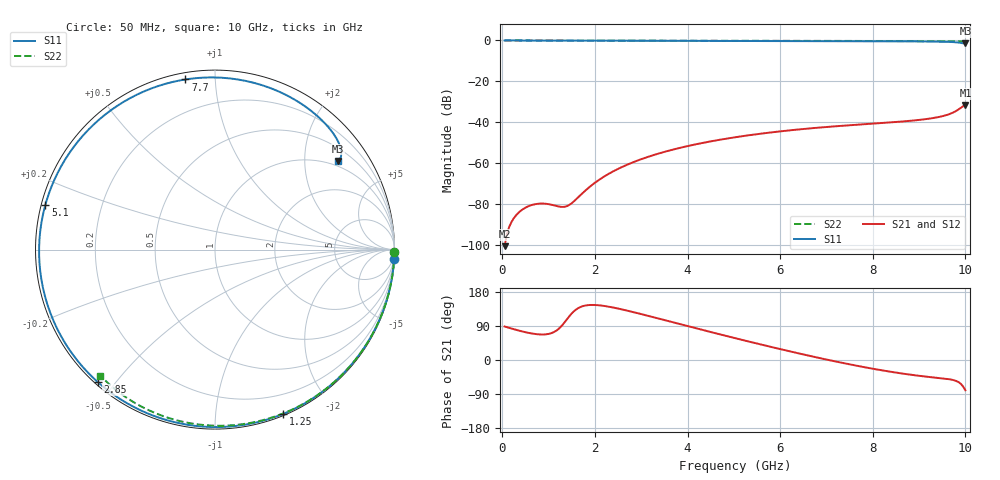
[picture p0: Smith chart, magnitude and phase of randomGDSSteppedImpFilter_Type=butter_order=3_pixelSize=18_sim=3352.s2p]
! freq	dB(S11)	phase(S11)	dB(S12)	phase(S12)
!  dB(S21)	phase(S21)	dB(S22)	phase(S22)
!S-par simulation data
#  GHz  S  DB  R 50
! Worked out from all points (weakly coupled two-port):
!   200 points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, 50 MHz to 10 GHz, reference 50 ohm
!   highest |S21| = -31.55 dB at 10 GHz (marker M1); lowest = -100.3 dB at 50 MHz (marker M2)
!   lowest |S11| = -1.5 dB at 10 GHz (marker M3), VSWR 11.76, Z = 41.9 + j143 ohm
!   |S11| at or under -10 dB: nowhere
!   |S22| runs from -0.5 to 0.0 dB; largest |S21 - S12| = 0
!   S11 on the Smith chart (normalised r, x): 50 MHz: 1, -40; 1.25 GHz: 0.01, -1.50; 2.85 GHz: 0.01, -0.45; 5.1 GHz: 0.01, +0.13; 7.7 GHz: 0.03, +0.84; 10 GHz: 0.84, +2.87
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0.05  -0.01 -2.9  -100.34 88.5  -100.34 88.5  -0.00 -0.8
0.3  -0.02 -17.2  -85.20 79.5  -85.20 79.5  -0.01 -4.6
0.55  -0.04 -31.1  -81.00 72.0  -81.00 72.0  -0.01 -8.4
0.9  -0.06 -49.8  -79.59 67.3  -79.59 67.3  -0.02 -13.7
1.25  -0.08 -67.4  -81.11 85.9  -81.11 85.9  -0.02 -18.9
1.45  -0.09 -76.8  -80.18 115.8  -80.18 115.8  -0.03 -21.9
1.75  -0.10 -90.2  -74.12 142.5  -74.12 142.5  -0.03 -26.4
2  -0.11 -100.6  -69.42 145.2  -69.42 145.2  -0.04 -30.1
2.25  -0.11 -110.4  -65.68 141.7  -65.68 141.7  -0.04 -33.8
2.85  -0.13 -131.6  -59.19 125.8  -59.19 125.8  -0.06 -42.4
3.4  -0.14 -148.9  -55.00 108.6  -55.00 108.6  -0.07 -50.3
4.2  -0.16 -171.5  -50.56 83.2  -50.56 83.2  -0.09 -61.3
5.05  -0.20 166.4  -47.14 56.9  -47.14 56.9  -0.11 -72.7
5.1  -0.20 165.2  -46.97 55.4  -46.97 55.4  -0.11 -73.4
5.85  -0.23 146.5  -44.73 33.1  -44.73 33.1  -0.14 -83.1
6.7  -0.28 125.5  -42.78 9.2  -42.78 9.2  -0.18 -93.7
7.7  -0.33 99.9  -41.04 -16.2  -41.04 -16.2  -0.24 -105.8
8.35  -0.39 82.5  -40.03 -30.3  -40.03 -30.3  -0.29 -113.5
8.9  -0.45 67.0  -39.01 -40.2  -39.01 -40.2  -0.34 -119.8
9.45  -0.58 50.6  -37.23 -47.8  -37.23 -47.8  -0.39 -126.2
9.8  -0.90 39.1  -34.37 -55.3  -34.37 -55.3  -0.43 -130.1
10  -1.48 35.9  -31.55 -79.9  -31.55 -79.9  -0.45 -132.3
